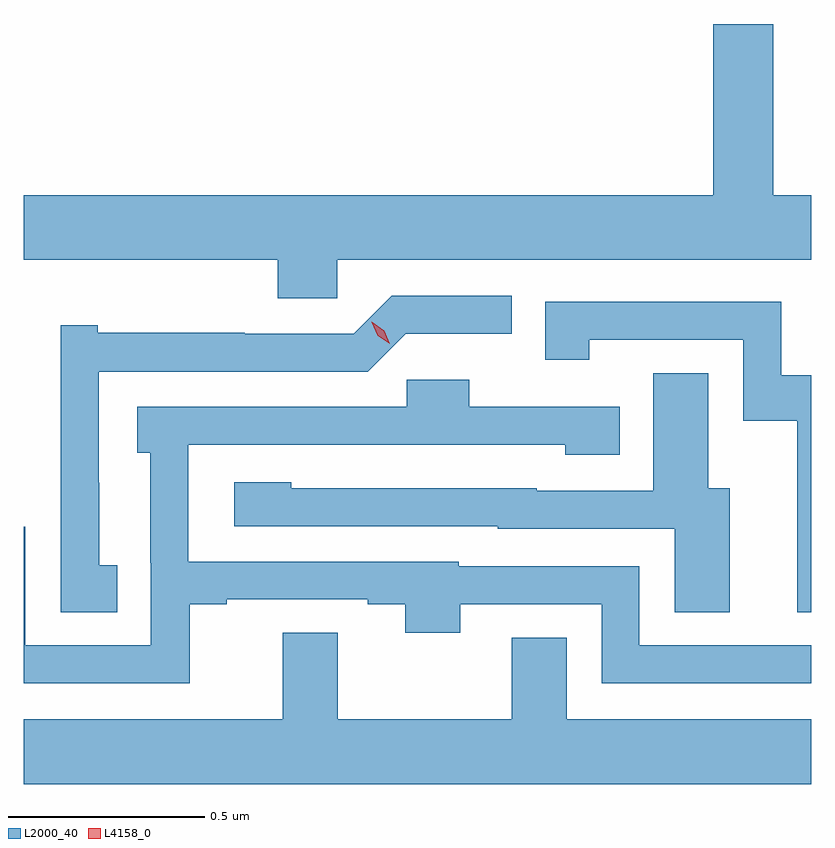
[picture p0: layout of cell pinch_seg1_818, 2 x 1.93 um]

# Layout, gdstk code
import gdstk
lib = gdstk.Library(unit=1e-6, precision=1e-09)
def P(c, l, *ps):  # polygons
    for p in ps: c.add(gdstk.Polygon(p, *l))
L2000_40 = (2000, 40)
L4158_0 = (4158, 0)

pinch_seg1_818 = lib.new_cell('pinch_seg1_818')
P(pinch_seg1_818, L2000_40, [(433.806,573.044),(435.01,573.044),(435.01,573.208),(434.914,573.208),(434.914,573.643),(434.762,573.643),(434.762,573.208),(433.01,573.208),(433.01,573.044),(433.655,573.044),(433.655,572.946),(433.806,572.946)],
  [(433.247,572.268),(433.201,572.268),(433.201,572.477),(433.2,572.477),(433.2,572.76),(433.884,572.76),(433.98,572.856),(434.25,572.856),(434.25,572.952),(433.944,572.952),(433.848,572.856),(433.571,572.856),(433.571,572.858),(433.197,572.858),(433.197,572.878),(433.104,572.878),(433.104,572.149),(433.247,572.149)],
  [(435.01,572.751),(434.934,572.751),(434.934,572.937),(434.335,572.937),(434.335,572.79),(434.446,572.79),(434.446,572.841),(434.838,572.841),(434.838,572.635),(434.975,572.635),(434.975,572.149),(435.01,572.149)],
  [(434.803,572.464),(434.749,572.464),(434.749,572.756),(434.609,572.756),(434.609,572.457),(434.313,572.457),(434.313,572.463),(433.689,572.463),(433.689,572.479),(433.545,572.479),(433.545,572.367),(434.214,572.367),(434.214,572.361),(434.663,572.361),(434.663,572.149),(434.803,572.149)],
  [(433.431,572.169),(433.525,572.169),(433.525,572.181),(433.883,572.181),(433.883,572.169),(433.979,572.169),(433.979,572.096),(434.119,572.096),(434.119,572.169),(434.478,572.169),(434.478,571.968),(435.01,571.968),(435.01,572.064),(434.574,572.064),(434.574,572.265),(434.115,572.265),(434.115,572.277),(433.428,572.277),(433.428,572.574),(434.385,572.574),(434.385,572.549),(434.524,572.549),(434.524,572.67),(434.142,572.67),(434.142,572.739),(433.983,572.739),(433.983,572.67),(433.298,572.67),(433.298,572.554),(433.331,572.554),(433.331,572.274),(433.332,572.274),(433.332,572.064),(433.014,572.064),(433.014,572.365),(433.01,572.365),(433.01,571.968),(433.431,571.968)],
  [(434.249,572.084),(434.249,571.876),(433.807,571.876),(433.807,572.096),(433.667,572.096),(433.667,571.876),(433.01,571.876),(433.01,571.712),(435.01,571.712),(435.01,571.876),(434.389,571.876),(434.389,572.084)])
P(pinch_seg1_818, L4158_0, [(433.94,572.83),(433.909,572.851),(433.894,572.885),(433.894,572.886),(433.894,572.886),(433.925,572.864),(433.94,572.831),(433.94,572.83)])

lib.write_gds('pinch_seg1_818.gds')
